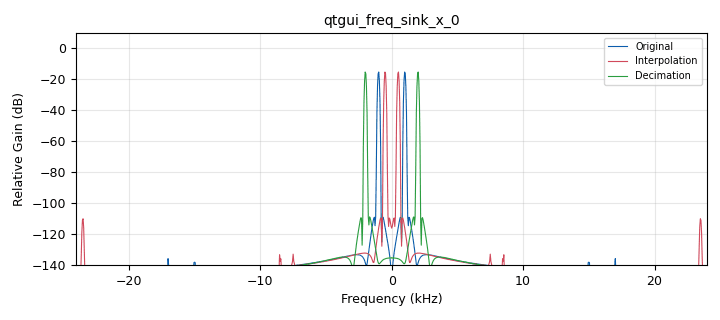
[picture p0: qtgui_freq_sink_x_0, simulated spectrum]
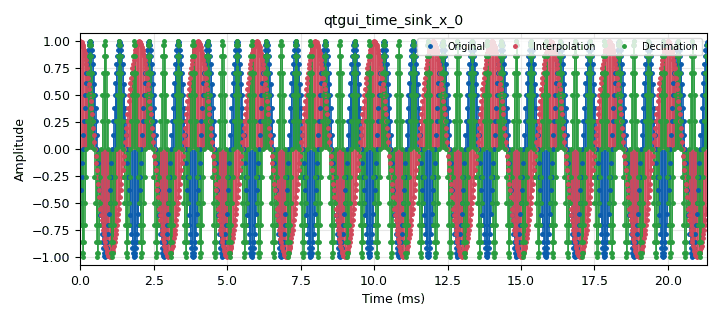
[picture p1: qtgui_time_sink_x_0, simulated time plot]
options:
  parameters:
    author: Sebastian - Esteban
    generate_options: qt_gui
    id: interpolacion_y_diesmado
    output_language: python
    title: Interpolacion y Diesmado
  states: {}

blocks:
- name: samp_rate
  id: variable
  parameters:
    value: 48e3
  states: {}
- name: analog_sig_source_x_0
  id: analog_sig_source_x
  parameters:
    amp: '1'
    freq: '1000'
    offset: '0'
    phase: '0'
    samp_rate: samp_rate
    type: float
    waveform: analog.GR_COS_WAVE
  states: {}
- name: analog_sig_source_x_0_0
  id: analog_sig_source_x
  parameters:
    amp: '1'
    freq: '1000'
    offset: '0'
    phase: '0'
    samp_rate: samp_rate
    type: float
    waveform: analog.GR_COS_WAVE
  states: {}
- name: analog_sig_source_x_0_1
  id: analog_sig_source_x
  parameters:
    amp: '1'
    freq: '1000'
    offset: '0'
    phase: '0'
    samp_rate: samp_rate
    type: float
    waveform: analog.GR_COS_WAVE
  states: {}
- name: blocks_throttle_0
  id: blocks_throttle
  parameters:
    samples_per_second: samp_rate
    type: float
  states: {}
- name: qtgui_freq_sink_x_0
  id: qtgui_freq_sink_x
  parameters:
    bw: samp_rate
    fc: '0'
    fftsize: '1024'
    label1: Original
    label2: Interpolation
    label3: Decimation
    nconnections: '3'
    type: float
  states: {}
- name: qtgui_time_sink_x_0
  id: qtgui_time_sink_x
  parameters:
    label1: Original
    label2: Interpolation
    label3: Decimation
    marker1: '0'
    marker2: '0'
    marker3: '0'
    nconnections: '3'
    size: '1024'
    srate: samp_rate
    stemplot: 'True'
    type: float
  states: {}
- name: rational_resampler_xxx_0
  id: rational_resampler_xxx
  parameters:
    decim: '1'
    interp: '1'
    type: fff
  states: {}
- name: rational_resampler_xxx_0_0
  id: rational_resampler_xxx
  parameters:
    decim: '1'
    interp: '2'
    type: fff
  states: {}
- name: rational_resampler_xxx_0_1
  id: rational_resampler_xxx
  parameters:
    decim: '2'
    interp: '1'
    type: fff
  states: {}

connections:
- [analog_sig_source_x_0, '0', rational_resampler_xxx_0, '0']
- [analog_sig_source_x_0_0, '0', rational_resampler_xxx_0_0, '0']
- [analog_sig_source_x_0_1, '0', rational_resampler_xxx_0_1, '0']
- [blocks_throttle_0, '0', qtgui_freq_sink_x_0, '0']
- [blocks_throttle_0, '0', qtgui_time_sink_x_0, '0']
- [rational_resampler_xxx_0, '0', blocks_throttle_0, '0']
- [rational_resampler_xxx_0_0, '0', qtgui_freq_sink_x_0, '1']
- [rational_resampler_xxx_0_0, '0', qtgui_time_sink_x_0, '1']
- [rational_resampler_xxx_0_1, '0', qtgui_freq_sink_x_0, '2']
- [rational_resampler_xxx_0_1, '0', qtgui_time_sink_x_0, '2']

metadata:
  file_format: 1
  grc_version: 3.10.2.0
